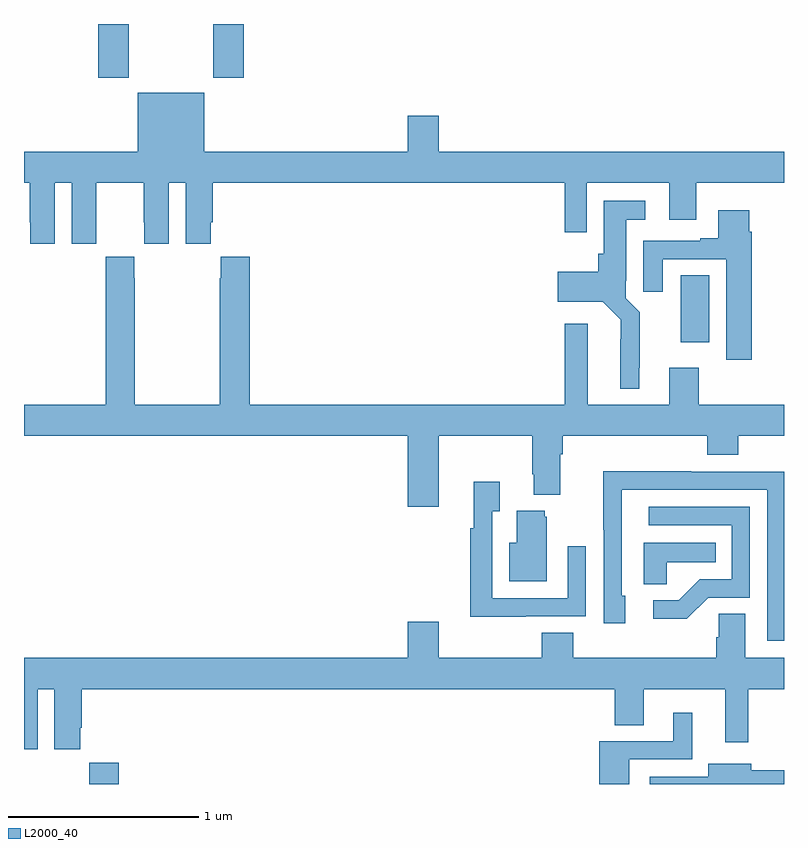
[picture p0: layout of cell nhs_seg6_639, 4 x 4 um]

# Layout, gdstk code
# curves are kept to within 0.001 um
import gdstk
lib = gdstk.Library(unit=1e-6, precision=1e-09)
def R(c, l, rs):  # rectangles x0, y0, x1, y1
    for r in rs: c.add(gdstk.rectangle(r[:2], r[2:], *l))
def P(c, l, *ps):  # polygons
    for p in ps: c.add(gdstk.Polygon(p, *l))
L2000_40 = (2000, 40)

nhs_seg6_639 = lib.new_cell('nhs_seg6_639')
R(nhs_seg6_639, L2000_40, [(151.343,949.5,151.499,949.612), (154.457,951.825,154.606,952.178), (151.391,953.217,151.551,953.5), (151.996,953.217,152.156,953.5)])
P(nhs_seg6_639, L2000_40, [(151.162,952.664),(151.25,952.664),(151.25,952.344),(151.38,952.344),(151.38,952.456),(151.381,952.456),(151.381,952.664),(151.631,952.664),(151.631,952.456),(151.632,952.456),(151.632,952.344),(151.762,952.344),(151.762,952.664),(151.85,952.664),(151.85,952.344),(151.984,952.344),(151.984,952.456),(151.994,952.456),(151.994,952.664),(153.847,952.664),(153.847,952.404),(153.963,952.404),(153.963,952.664),(154.397,952.664),(154.397,952.47),(154.537,952.47),(154.537,952.664),(155,952.664),(155,952.828),(153.184,952.828),(153.184,953.017),(153.02,953.017),(153.02,952.828),(151.948,952.828),(151.948,953.137),(151.598,953.137),(151.598,952.828),(151,952.828),(151,952.664),(151.031,952.664),(151.031,952.456),(151.032,952.456),(151.032,952.344),(151.162,952.344)],
  [(154.237,951.691),(154.241,951.691),(154.241,951.982),(154.167,952.056),(154.167,952.15),(154.171,952.15),(154.171,952.469),(154.27,952.469),(154.27,952.57),(154.052,952.57),(154.052,952.29),(154.022,952.29),(154.022,952.195),(153.81,952.195),(153.81,952.037),(154.047,952.037),(154.14,951.944),(154.139,951.581),(154.237,951.581)],
  [(154.829,952.406),(154.816,952.406),(154.816,952.519),(154.655,952.519),(154.655,952.372),(154.559,952.372),(154.559,952.359),(154.259,952.359),(154.259,952.092),(154.363,952.092),(154.363,952.263),(154.697,952.263),(154.697,951.732),(154.829,951.732)],
  [(153.184,951.332),(153.676,951.332),(153.676,951.13),(153.683,951.13),(153.683,951.023),(153.823,951.023),(153.823,951.236),(153.836,951.236),(153.836,951.332),(154.595,951.332),(154.595,951.233),(154.76,951.233),(154.76,951.332),(155,951.332),(155,951.496),(154.55,951.496),(154.55,951.691),(154.397,951.691),(154.397,951.496),(153.967,951.496),(153.967,951.922),(153.845,951.922),(153.845,951.496),(152.189,951.496),(152.189,952.276),(152.035,952.276),(152.035,952.163),(152.029,952.163),(152.029,951.496),(151.584,951.496),(151.584,952.163),(151.581,952.163),(151.581,952.276),(151.431,952.276),(151.431,952.163),(151.429,952.163),(151.429,951.496),(151,951.496),(151,951.332),(153.02,951.332),(153.02,950.958),(153.184,950.958)],
  [(155,951.144),(154.511,951.144),(154.511,951.146),(154.048,951.146),(154.048,950.839),(154.05,950.839),(154.05,950.346),(154.165,950.346),(154.165,950.49),(154.146,950.49),(154.146,951.048),(154.911,951.048),(154.911,950.253),(155,950.253)],
  [(153.641,950.382),(153.957,950.382),(153.957,950.752),(153.861,950.752),(153.861,950.478),(153.465,950.478),(153.465,950.935),(153.505,950.935),(153.505,951.091),(153.368,951.091),(153.368,950.846),(153.349,950.846),(153.349,950.381),(153.641,950.381)],
  [(154.602,950.481),(154.821,950.481),(154.821,950.958),(154.287,950.958),(154.287,950.862),(154.725,950.862),(154.725,950.577),(154.556,950.577),(154.445,950.466),(154.311,950.466),(154.311,950.369),(154.489,950.369)],
  [(153.751,950.907),(153.74,950.907),(153.74,950.938),(153.593,950.938),(153.593,950.77),(153.554,950.77),(153.554,950.567),(153.751,950.567)],
  [(154.383,950.666),(154.64,950.666),(154.64,950.77),(154.262,950.77),(154.262,950.551),(154.383,950.551)],
  [(154.109,949.81),(154.261,949.81),(154.261,950),(154.691,950),(154.691,949.719),(154.813,949.719),(154.813,950),(155,950),(155,950.164),(154.795,950.164),(154.795,950.396),(154.656,950.396),(154.656,950.273),(154.643,950.273),(154.643,950.164),(153.89,950.164),(153.89,950.297),(153.725,950.297),(153.725,950.164),(153.184,950.164),(153.184,950.353),(153.02,950.353),(153.02,950.164),(151,950.164),(151,949.683),(151.072,949.683),(151.072,950),(151.16,950),(151.16,949.683),(151.297,949.683),(151.297,949.795),(151.304,949.795),(151.304,950),(154.109,950)],
  [(154.186,949.629),(154.516,949.629),(154.516,949.876),(154.418,949.876),(154.418,949.725),(154.028,949.725),(154.028,949.5),(154.186,949.5)],
  [(155,949.572),(154.828,949.572),(154.828,949.606),(154.601,949.606),(154.601,949.539),(154.293,949.539),(154.293,949.5),(155,949.5)])

lib.write_gds('nhs_seg6_639.gds')
